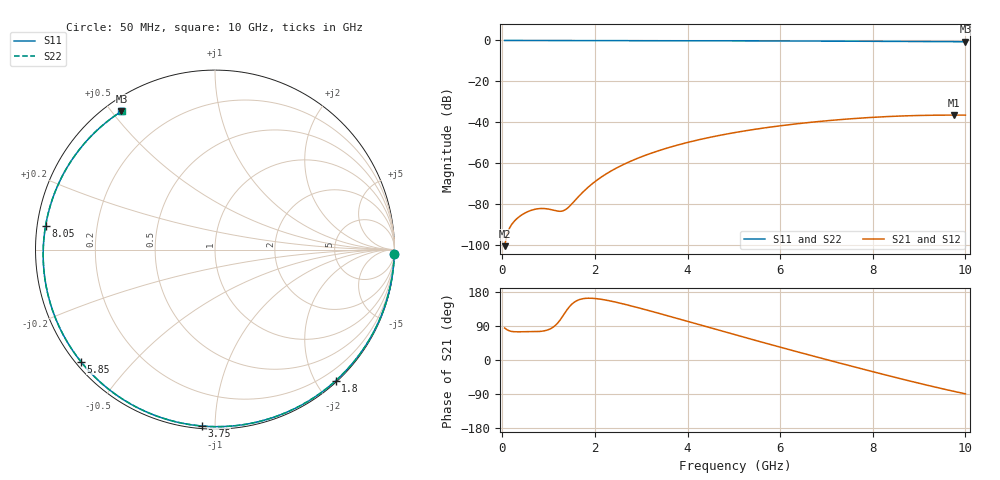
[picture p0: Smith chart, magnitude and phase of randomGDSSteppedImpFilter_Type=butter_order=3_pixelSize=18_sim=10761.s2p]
! freq	dB(S11)	phase(S11)	dB(S12)	phase(S12)
!  dB(S21)	phase(S21)	dB(S22)	phase(S22)
!S-par simulation data
#  GHz  S  DB  R 50
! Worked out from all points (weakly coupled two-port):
!   200 points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, 50 MHz to 10 GHz, reference 50 ohm
!   highest |S21| = -36.55 dB at 9.75 GHz (marker M1); lowest = -100.7 dB at 50 MHz (marker M2)
!   lowest |S11| = -0.6 dB at 10 GHz (marker M3), VSWR 27.58, Z = 2.32 + j26.5 ohm
!   |S11| at or under -10 dB: nowhere
!   |S22| runs from -0.6 to 0.0 dB; largest |S21 - S12| = 0
!   S11 on the Smith chart (normalised r, x): 50 MHz: 1, -88; 1.8 GHz: 0.02, -2.28; 3.75 GHz: 0.01, -0.93; 5.85 GHz: 0.02, -0.36; 8.05 GHz: 0.02, +0.07; 10 GHz: 0.05, +0.53
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0.05  -0.00 -1.3  -100.74 84.5  -100.74 84.5  -0.00 -1.3
0.4  -0.02 -10.7  -85.75 74.5  -85.75 74.5  -0.02 -10.7
0.75  -0.03 -20.0  -82.48 74.9  -82.48 74.9  -0.03 -20.1
1.1  -0.04 -29.3  -83.08 86.8  -83.08 86.8  -0.04 -29.3
1.5  -0.05 -39.7  -80.09 147.1  -80.09 147.1  -0.05 -39.7
1.75  -0.06 -46.1  -74.05 162.0  -74.05 162.0  -0.06 -46.1
1.8  -0.06 -47.3  -72.97 162.7  -72.97 162.7  -0.06 -47.4
2.1  -0.07 -54.9  -67.49 160.9  -67.49 160.9  -0.07 -54.9
2.45  -0.08 -63.6  -62.66 152.7  -62.66 152.7  -0.08 -63.6
2.9  -0.09 -74.5  -57.91 139.0  -57.91 139.0  -0.09 -74.5
3.4  -0.11 -86.2  -53.81 122.5  -53.81 122.5  -0.11 -86.3
3.75  -0.12 -94.3  -51.45 110.6  -51.45 110.6  -0.12 -94.4
4.4  -0.15 -108.9  -47.84 88.2  -47.84 88.2  -0.15 -108.9
5.05  -0.18 -123.1  -44.99 65.9  -44.99 65.9  -0.18 -123.1
5.85  -0.23 -140.2  -42.24 38.9  -42.24 38.9  -0.23 -140.3
6.7  -0.29 -158.3  -39.99 10.8  -39.99 10.8  -0.29 -158.4
7.4  -0.35 -173.4  -38.57 -11.8  -38.57 -11.8  -0.35 -173.6
8.05  -0.42 172.1  -37.59 -32.4  -37.59 -32.4  -0.42 171.9
8.35  -0.45 165.2  -37.24 -41.7  -37.24 -41.7  -0.45 165.0
9.05  -0.52 148.5  -36.71 -62.9  -36.71 -62.9  -0.52 148.3
9.75  -0.60 130.7  -36.55 -82.7  -36.55 -82.7  -0.60 130.5
10  -0.63 124.1  -36.57 -89.3  -36.57 -89.3  -0.63 123.8
